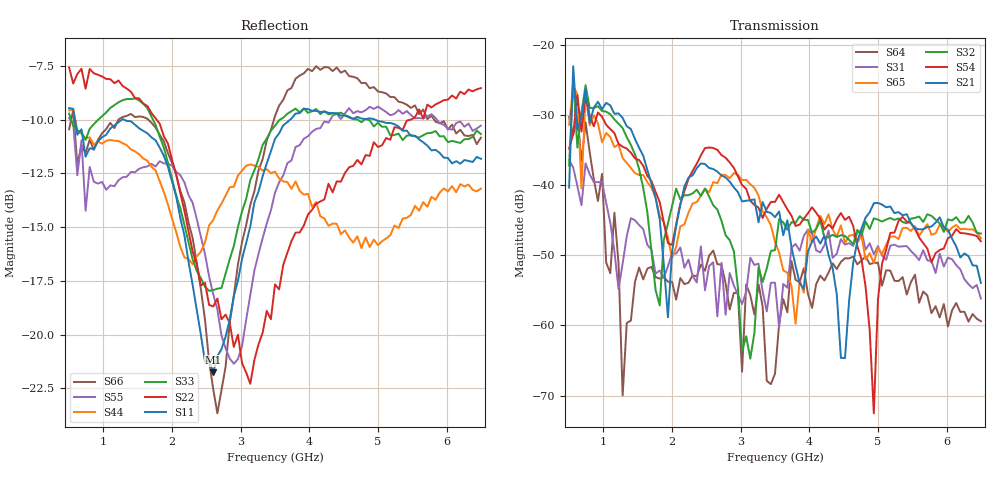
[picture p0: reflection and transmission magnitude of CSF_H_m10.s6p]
!Keysight Technologies,M9804A,MY58100912,A.14.10.03
!Date: Thursday, April 27, 2023 10:28:33
!Correction: S11(C  6-Port  )
!S12(C  6-Port  )
!S13(C  6-Port  )
!S14(C  6-Port  )
!S15(C  6-Port  )
!S16(C  6-Port  )
!S21(C  6-Port  )
!S22(C  6-Port  )
!S23(C  6-Port  )
!S24(C  6-Port  )
!S25(C  6-Port  )
!S26(C  6-Port  )
!S31(C  6-Port  )
!S32(C  6-Port  )
!S33(C  6-Port  )
!S34(C  6-Port  )
!S35(C  6-Port  )
!S36(C  6-Port  )
!S41(C  6-Port  )
!S42(C  6-Port  )
!S43(C  6-Port  )
!S44(C  6-Port  )
!S45(C  6-Port  )
!S46(C  6-Port  )
!S51(C  6-Port  )
!S52(C  6-Port  )
!S53(C  6-Port  )
!S54(C  6-Port  )
!S55(C  6-Port  )
!S56(C  6-Port  )
!S61(C  6-Port  )
!S62(C  6-Port  )
!S63(C  6-Port  )
!S64(C  6-Port  )
!S65(C  6-Port  )
!S66(C  6-Port  )
!S6P File: Measurement: :
# Hz S  RI  R 50
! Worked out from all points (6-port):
!   101 points, 500 MHz to 6.5 GHz, reference 50 ohm
!   strongest paths, dB at 500 MHz, 2 GHz, 3.5 GHz, 5 GHz, 6.5 GHz:
!     S21: -40.4, -49.5, -44.6, -42.5, -53.9
!     S54: -34.8, -48.5, -42.4, -56.3, -48.0
!     S32: -37.2, -43.0, -49.2, -44.9, -46.9
!     S65: -31.4, -50.4, -48.1, -48.9, -47.6
!     S31: -36.4, -49.7, -53.9, -48.7, -56.2
!     S64: -30.3, -53.8, -66.9, -51.0, -59.4
!   lowest |S11| = -21.8 dB at 2.6 GHz (marker M1), VSWR 1.18, Z = 42.7 + j1.93 ohm
!   |S11| at or under -10 dB: 585.1 MHz to 1.269 GHz (683.5 MHz wide, 73.7 % of centre); 1.3 GHz to 3.721 GHz (2.421 GHz wide, 96.4 % of centre); 4.961 GHz to end of sweep
